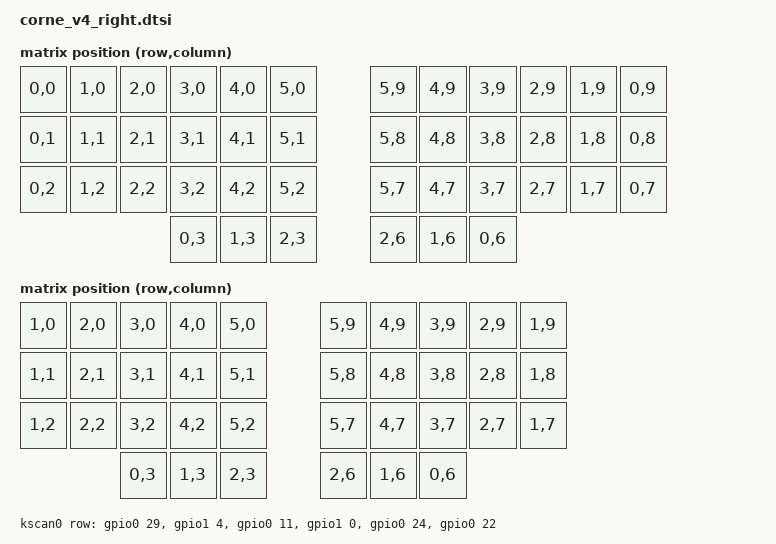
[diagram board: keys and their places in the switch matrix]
#include <dt-bindings/zmk/matrix_transform.h>

#include <layouts/foostan/corne/5column.dtsi>
#include <layouts/foostan/corne/6column.dtsi>

&foostan_corne_6col_layout {
    transform = <&default_transform>;
};

&foostan_corne_5col_layout {
    transform = <&five_column_transform>;
};

/ {
    chosen {
        zmk,kscan = &kscan0;
        zmk,physical-layout = &foostan_corne_6col_layout;
    };

    default_transform: keymap_transform_0 {
        compatible = "zmk,matrix-transform";
        columns = <12>;
        rows = <6>;
        col-offset = <6>;
        map = <
            RC(0,0) RC(1,0) RC(2,0) RC(3,0) RC(4,0) RC(5,0)  RC(5,9) RC(4,9) RC(3,9) RC(2,9) RC(1,9) RC(0,9)
            RC(0,1) RC(1,1) RC(2,1) RC(3,1) RC(4,1) RC(5,1)  RC(5,8) RC(4,8) RC(3,8) RC(2,8) RC(1,8) RC(0,8)
            RC(0,2) RC(1,2) RC(2,2) RC(3,2) RC(4,2) RC(5,2)  RC(5,7) RC(4,7) RC(3,7) RC(2,7) RC(1,7) RC(0,7)
                                    RC(0,3) RC(1,3) RC(2,3)  RC(2,6) RC(1,6) RC(0,6)
        >;
    };

    five_column_transform: keymap_transform_1 {
        compatible = "zmk,matrix-transform";
        columns = <12>;
        rows = <6>;
        col-offset = <6>;
        map = <
                    RC(1,0) RC(2,0) RC(3,0) RC(4,0) RC(5,0)  RC(5,9) RC(4,9) RC(3,9) RC(2,9) RC(1,9)
                    RC(1,1) RC(2,1) RC(3,1) RC(4,1) RC(5,1)  RC(5,8) RC(4,8) RC(3,8) RC(2,8) RC(1,8)
                    RC(1,2) RC(2,2) RC(3,2) RC(4,2) RC(5,2)  RC(5,7) RC(4,7) RC(3,7) RC(2,7) RC(1,7)
                            RC(0,3) RC(1,3) RC(2,3)  RC(2,6) RC(1,6) RC(0,6)
        >;
    };

    kscan0: kscan {
        compatible = "zmk,kscan-gpio-matrix";
        wakeup-source;
        diode-direction = "col2row";
        row-gpios = <
            &gpio0 29 (GPIO_ACTIVE_LOW | GPIO_PULL_UP)
            &gpio1 4  (GPIO_ACTIVE_LOW | GPIO_PULL_UP)
            &gpio0 11 (GPIO_ACTIVE_LOW | GPIO_PULL_UP)
            &gpio1 0  (GPIO_ACTIVE_LOW | GPIO_PULL_UP)
            &gpio0 24 (GPIO_ACTIVE_LOW | GPIO_PULL_UP)
            &gpio0 22 (GPIO_ACTIVE_LOW | GPIO_PULL_UP)
        >;
    };
};
